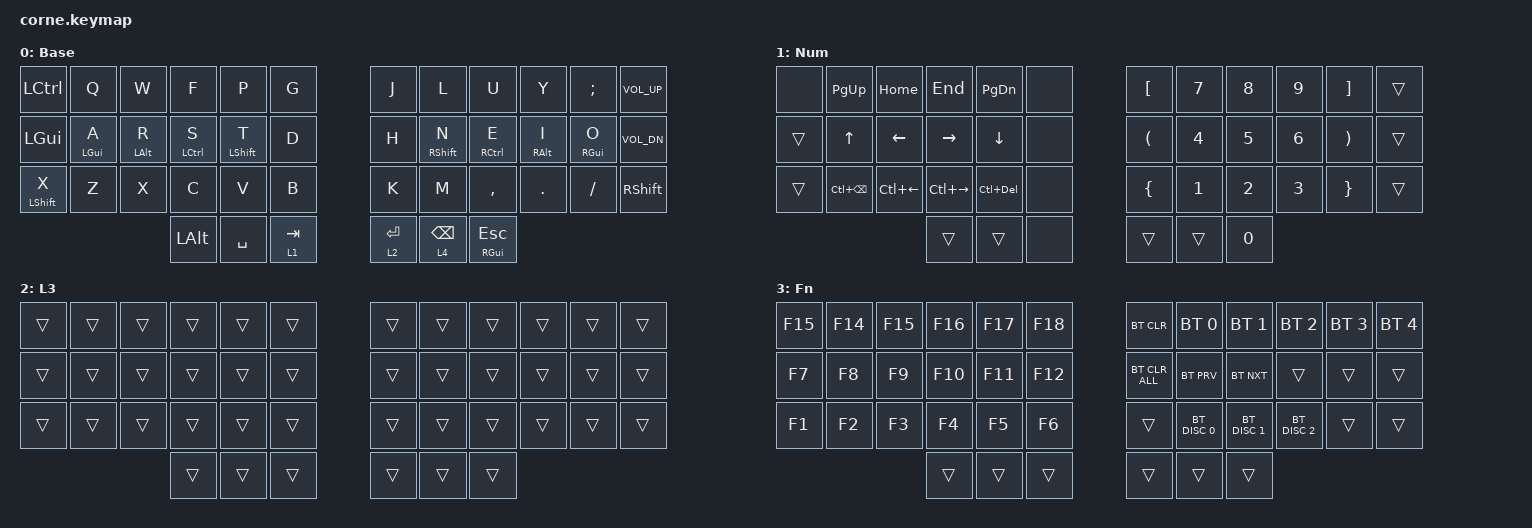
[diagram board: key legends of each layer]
/*
 * Corne Keymap - Konvertita de Vial
 * Layout: Colemak
 */

#include <behaviors.dtsi>
#include <dt-bindings/zmk/keys.h>
#include <dt-bindings/zmk/bt.h>

/ {
    behaviors {
        hm: homerow_mods {
            compatible = "zmk,behavior-hold-tap";
            #binding-cells = <2>;
            tapping-term-ms = <200>;
            quick-tap-ms = <0>;
            flavor = "tap-preferred";
            bindings = <&kp>, <&kp>;
        };
    };

    // Caps word configuration - continues on underscore, minus, backspace, delete
    &caps_word {
        continue-list = <UNDERSCORE MINUS BACKSPACE DELETE>;
    };

    combos {
        compatible = "zmk,combos";

        // Brackets - home row adjacent keys
        combo_lbrc {
            timeout-ms = <50>;
            key-positions = <13 14>;  // A + R
            bindings = <&kp LBRC>;
        };
        combo_lbkt {
            timeout-ms = <50>;
            key-positions = <14 15>;  // R + S
            bindings = <&kp LBKT>;
        };
        combo_lpar {
            timeout-ms = <50>;
            key-positions = <15 16>;  // S + T
            bindings = <&kp LPAR>;
        };
        combo_rpar {
            timeout-ms = <50>;
            key-positions = <19 20>;  // N + E
            bindings = <&kp RPAR>;
        };
        combo_rbkt {
            timeout-ms = <50>;
            key-positions = <20 21>;  // E + I
            bindings = <&kp RBKT>;
        };
        combo_rbrc {
            timeout-ms = <50>;
            key-positions = <21 22>;  // I + O
            bindings = <&kp RBRC>;
        };

        // Utility combos
        combo_bootloader {
            timeout-ms = <50>;
            key-positions = <5 6>;    // G + J (inner index keys)
            bindings = <&bootloader>;
        };
        combo_caps_word {
            timeout-ms = <50>;
            key-positions = <16 19>;  // T + N (index fingers across split)
            bindings = <&caps_word>;
        };
    };

    keymap {
        compatible = "zmk,keymap";

        // Layer 0: Base (Colemak)
        base_layer {
            display-name = "Base";
            bindings = <
   &kp LCTRL  &kp Q  &kp W  &kp F  &kp P  &kp G      &kp J  &kp L  &kp U      &kp Y    &kp SEMI  &kp C_VOL_UP
   &kp LGUI   &hm LGUI A  &hm LALT R  &hm LCTRL S  &hm LSHFT T  &kp D      &kp H  &hm RSHFT N  &hm RCTRL E  &hm RALT I  &hm RGUI O  &kp C_VOL_DN
   &mt LSHFT X &kp Z &kp X  &kp C  &kp V  &kp B      &kp K  &kp M  &kp COMMA  &kp DOT  &kp FSLH  &kp RSHFT
                     &kp LALT  &kp SPACE  &lt 1 TAB  &lt 2 RET  &lt 4 BSPC  &mt RGUI ESC
            >;
        };

        // Layer 1: Numbers + Navigation
        num_layer {
            display-name = "Num";
            bindings = <
   &none   &kp PG_UP  &kp HOME  &kp END  &kp PG_DN   &none       &kp LBKT   &kp N7  &kp N8  &kp N9  &kp RBKT   &trans
   &trans  &kp UP    &kp LEFT   &kp RIGHT  &kp DOWN  &none       &kp LPAR   &kp N4  &kp N5  &kp N6  &kp RPAR   &trans
   &trans  &kp LC(BSPC)  &kp LC(LEFT)  &kp LC(RIGHT)  &kp LC(DEL)  &none      &kp LBRC   &kp N1  &kp N2  &kp N3  &kp RBRC   &trans
                              &trans     &trans    &none       &trans     &trans  &kp N0
            >;
        };

        // Layer 2: Symbols
        sym_layer {
            display-name = "Sym";
            bindings = <
   &trans  &kp EQUAL  &kp PLUS  &kp STAR  &kp AMPS  &kp PIPE     &kp LBRC  &kp LBKT  &kp LPAR  &kp RPAR  &kp RBKT  &kp RBRC
   &trans  &kp MINUS  &kp EXCL  &kp AT    &kp HASH  &kp SQT      &kp DQT   &kp UNDER &kp COLON &kp SEMI  &kp QMARK &trans
   &kp BSLH  &kp CARET  &kp BSLH  &kp GRAVE &kp TILDE &kp PRCNT    &kp DLLR  &kp LT    &kp GT    &kp FSLH  &trans    &trans
                                &trans    &trans    &trans       &trans    &trans    &trans
            >
        };

        // Layer 3: (Vakua en Vial)
        layer_3 {
            display-name = "L3";
            bindings = <
   &trans  &trans  &trans  &trans  &trans  &trans      &trans  &trans  &trans  &trans  &trans  &trans
   &trans  &trans  &trans  &trans  &trans  &trans      &trans  &trans  &trans  &trans  &trans  &trans
   &trans  &trans  &trans  &trans  &trans  &trans      &trans  &trans  &trans  &trans  &trans  &trans
                           &trans  &trans  &trans      &trans  &trans  &trans
            >;
        };

        // Layer 4: Function Keys + Bluetooth
        fn_layer {
            display-name = "Fn";
            bindings = <
   &kp F15  &kp F14  &kp F15  &kp F16  &kp F17  &kp F18      &bt BT_CLR    &bt BT_SEL 0  &bt BT_SEL 1  &bt BT_SEL 2  &bt BT_SEL 3  &bt BT_SEL 4
   &kp F7   &kp F8   &kp F9   &kp F10  &kp F11  &kp F12      &bt BT_CLR_ALL &bt BT_PRV   &bt BT_NXT    &trans        &trans        &trans
   &kp F1   &kp F2   &kp F3   &kp F4   &kp F5   &kp F6       &trans        &bt BT_DISC 0 &bt BT_DISC 1 &bt BT_DISC 2 &trans        &trans
                              &trans   &trans   &trans       &trans        &trans        &trans
            >;
        };

        // Rezervita strati por futura uzo (5-9)
        extra5 { status = "reserved"; };
        extra6 { status = "reserved"; };
        extra7 { status = "reserved"; };
        extra8 { status = "reserved"; };
        extra9 { status = "reserved"; };
    };
};
